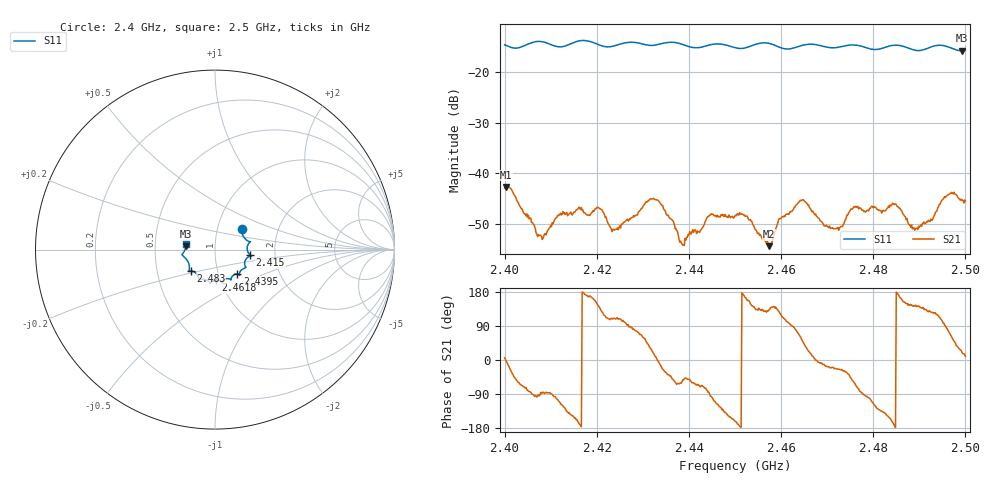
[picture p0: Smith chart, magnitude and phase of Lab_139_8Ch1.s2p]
# Hz S RI R 50
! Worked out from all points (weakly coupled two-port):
!   601 points, 2.4 GHz to 2.5 GHz, reference 50 ohm
!   highest |S21| = -42.67 dB at 2.4003 GHz (marker M1); lowest = -54.4 dB at 2.4573 GHz (marker M2)
!   lowest |S11| = -15.7 dB at 2.4992 GHz (marker M3), VSWR 1.39, Z = 36 + j1.32 ohm
!   |S11| at or under -10 dB: start of sweep to end of sweep
!   S12 and S22 are empty: the file has one direction only
!   S11 on the Smith chart (normalised r, x): 2.4 GHz: 1.31, +0.31; 2.415 GHz: 1.48, -0.10; 2.4395 GHz: 1.23, -0.34; 2.4618 GHz: 0.95, -0.33; 2.483 GHz: 0.74, -0.18; 2.5 GHz: 0.72, +0.05
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2.4e9  0.1498 0.1137  0.0071 0.000732  0 0  0 0
2.400333e9  0.1498 0.1092  0.00735 -0.000323  0 0  0 0
2.407667e9  0.1981 0.0441  -0.000127 -0.00243  0 0  0 0
2.415e9  0.195 -0.0319  -0.00357 -0.00211  0 0  0 0
2.416667e9  0.2037 -0.0377  -0.00459 -0.000318  0 0  0 0
2.420667e9  0.181 -0.0444  -0.00327 0.00304  0 0  0 0
2.423833e9  0.165 -0.0802  -0.00094 0.00258  0 0  0 0
2.433333e9  0.1365 -0.1316  0.00539 -0.000319  0 0  0 0
2.4395e9  0.1239 -0.1353  0.00153 -0.00177  0 0  0 0
2.444667e9  0.0891 -0.1659  -0.000378 -0.00393  0 0  0 0
2.45e9  0.0695 -0.1618  -0.00361 -0.00119  0 0  0 0
2.457333e9  0.0441 -0.1894  -0.00126 0.00143  0 0  0 0
2.461833e9  0.00428 -0.1709  -0.00044 0.00404  0 0  0 0
2.466667e9  -0.0262 -0.1889  0.00408 0.000846  0 0  0 0
2.472e9  -0.061 -0.1654  0.00263 -0.00114  0 0  0 0
2.476167e9  -0.0881 -0.1644  0.00192 -0.00432  0 0  0 0
2.483e9  -0.1356 -0.1181  -0.00376 -0.00251  0 0  0 0
2.483333e9  -0.1384 -0.118  -0.00413 -0.00235  0 0  0 0
2.489167e9  -0.145 -0.08  -0.00233 0.00164  0 0  0 0
2.4965e9  -0.1768 -0.0188  0.00194 0.00593  0 0  0 0
2.499167e9  -0.163 0.0178  0.00497 0.0021  0 0  0 0
2.5e9  -0.163 0.0328  0.00523 0.000868  0 0  0 0
